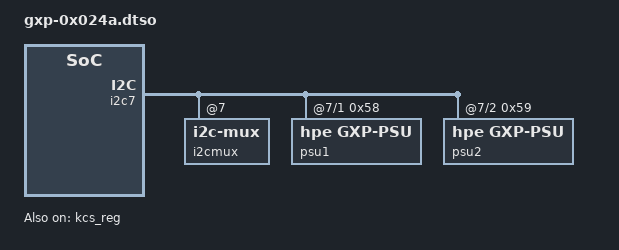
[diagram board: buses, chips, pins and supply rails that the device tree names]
/dts-v1/;
/plugin/;
&{/} {
	model = "HPE ProLiant DL380a Gen11";
	compatible = "hpe,gxp-dl380agen11", "hpe,gxp";
};
&{/ahb@80000000} {
	kcs_conf: kcs_conf@80fc0430 {
		compatible = "hpe,gxp-kcs-bmc-cfg", "simple-mfd", "syscon";
		reg = <0x80fc0430 0x100>;
	};

	kcs_reg: kcs_reg@80fd0400 {
		compatible = "hpe,gxp-kcs-bmc";
		reg = <0x80fd0400 0x8>;
		interrupts = <6>;
		interrupt-parent = <&vic1>;
		kcs-chan = <1>;
		status = "okay";
		kcs-bmc-cfg = <&kcs_conf>;
	};

	/include/ "gxp-ubm-mux3.dtsi"
/* add PSU mux */
i2cmux@7 {
	compatible = "i2c-mux";
	i2c-parent = <&i2c7>;
	mux-controls = <&i2c_mux_ctrl 7>;
	#address-cells = <1>;
	#size-cells = <0>;
	i2c7@1 {
		reg = <1>;
		#address-cells = <1>;
		#size-cells = <0>;
		psu1: psu@58 {
			compatible = "hpe,gxp-psu";
			reg = <0x58>;
		};
	};
	i2c7@2 {
		reg = <2>;
		#address-cells = <1>;
		#size-cells = <0>;
		psu2: psu@59 {
			compatible = "hpe,gxp-psu";
			reg = <0x59>;
		};
	};
};
syspower: syspower {
	compatible = "hpe,gxp-power";
	psu_phandle = <&psu1>, <&psu2>;
};
};
